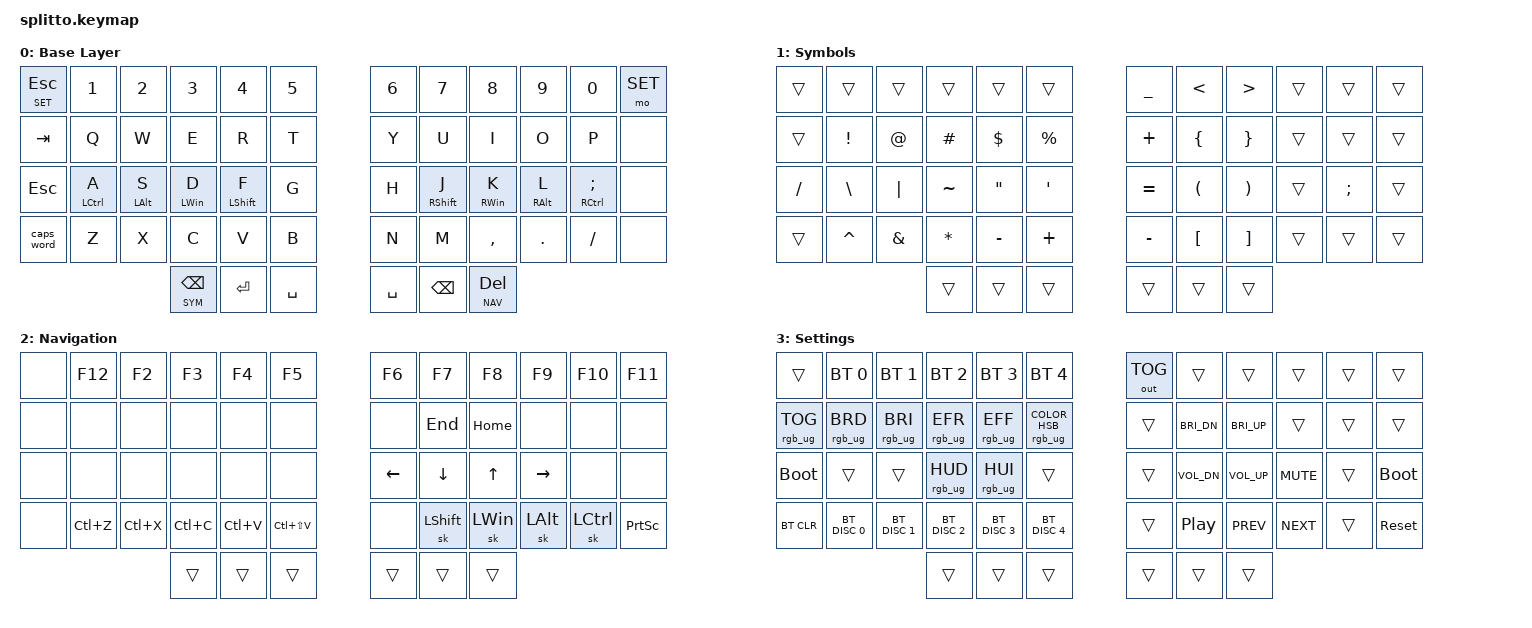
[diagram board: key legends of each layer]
#include <behaviors.dtsi>
#include <dt-bindings/zmk/keys.h>
#include <dt-bindings/zmk/rgb.h>
#include <dt-bindings/zmk/ext_power.h>
#include <dt-bindings/zmk/outputs.h>
#include <dt-bindings/zmk/bt.h>


#define BASE 0
#define SYM  1
#define NAV  2
#define SET  3


/ {
  /* combos { */
  /*   compatible = "zmk,combos"; */
  /*   combo_num_l { */
  /*     timeout-ms = <50>; */
  /*     require-prior-idle-ms = <500>; */
  /*     key-positions = <49 50>; */
  /*     bindings = <&tog NUM>; */
  /*   }; */
  /*   combo_num_r { */
  /*     timeout-ms = <50>; */
  /*     require-prior-idle-ms = <500>; */
  /*     key-positions = <51 52>; */
  /*     bindings = <&tog NUM>; */
  /*   }; */
  /* }; */


  behaviors {
    mtl: home_row_mod_left {
      compatible = "zmk,behavior-hold-tap";
      #binding-cells = <2>;
      flavor = "tap-preferred";
      tapping-term-ms = <150>;
      // quick-tap-ms = <175>;
      bindings = <&kp>, <&kp>;
      hold-trigger-key-positions = <6 7 8 9 10 11  18 19 20 21 22 23  30 31 32 33 34 35  42 43 44 45 46 47  48 49 50 51 52 53>;
      // hold-trigger-on-release;
    };
    mtr: home_row_mod_right {
      compatible = "zmk,behavior-hold-tap";
      #binding-cells = <2>;
      flavor = "tap-preferred";
      tapping-term-ms = <150>;
      // quick-tap-ms = <175>;
      bindings = <&kp>, <&kp>;
      hold-trigger-key-positions = <0 1 2 3 4 5  12 13 14 15 16 17  24 25 26 27 28 29  36 37 38 39 40 41  48 49 50 51 52 53>;
      // hold-trigger-on-release;
    };
  };


  keymap {
    compatible = "zmk,keymap";

    // ┌──────┬─────┬─────┬─────┬─────┬─────┐      ┌─────┬─────┬─────┬─────┬─────┬──────┐
    // │      │ 1   │ 2   │ 3   │ 4   │ 5   │      │ 6   │ 7   │ 8   │ 9   │ 0   │      │
    // │      │     │     │     │     │     │      │     │     │     │     │     │      │
    // ├──────┼─────┼─────┼─────┼─────┼─────┤      ├─────┼─────┼─────┼─────┼─────┼──────┤
    // │ TAB  │ Q   │ W   │ E   │ R   │ T   │      │ Y   │ U   │ I   │ O   │ P   │      │
    // │      │     │     │     │     │     │      │     │     │     │     │     │      │
    // ├──────┼─────┼─────┼─────┼─────┼─────┤      ├─────┼─────┼─────┼─────┼─────┼──────┤
    // │ ESC  │ A   │ S   │ D   │ F   │ G   │      │ H   │ J   │ K   │ L   │ ;   │      │
    // │      │     │     │     │     │     │      │     │     │     │     │     │      │
    // ├──────┼─────┼─────┼─────┼─────┼─────┤      ├─────┼─────┼─────┼─────┼─────┼──────
    // │      │ Z   │ X   │ C   │ V   │ B   │      │ N   │ M   │ ,   │ .   │ /   │      │
    // │      │     │     │     │     │     │      │     │     │     │     │     │      │
    // └──────┴─────┴─────┴─────┴─────┴─────┘      └─────┴─────┴─────┴─────┴─────┴──────┘
    //          ┌───────┐ ┌───────┐ ┌───────┐      ┌───────┐ ┌───────┐ ┌───────┐
    //          │       │ │       │ │ SPACE │      │       │ │       │ │       │
    //          │       │ │       │ │       │      │       │ │       │ │       │
    //          └───────┘ └───────┘ └───────┘      └───────┘ └───────┘ └───────┘
    default_layer {
      display-name = "Base Layer";
      bindings = <
        &lt SET ESC &kp N1       &kp N2      &kp N3      &kp N4       &kp N5      &kp N6      &kp N7       &kp N8      &kp N9      &kp N0          &mo SET
        &kp TAB     &kp Q        &kp W       &kp E       &kp R        &kp T       &kp Y       &kp U        &kp I       &kp O       &kp P           &none
        &kp ESC     &mtl LCTRL A &mtl LALT S &mtl LWIN D &mtl LSHFT F &kp G       &kp H       &mtr RSHFT J &mtr RWIN K &mtr RALT L &mtr RCTRL SEMI &none
        &caps_word  &kp Z        &kp X       &kp C       &kp V        &kp B       &kp N       &kp M        &kp COMMA   &kp DOT     &kp FSLH        &none

        &lt SYM BSPC    &kp RET  &kp SPACE                                        &kp SPACE   &kp BSPC     &lt NAV DEL
      >;
    };



    // Symbols : Hold Left Inner Thumb
    // ┌──────┬─────┬─────┬─────┬─────┬─────┐      ┌─────┬─────┬─────┬─────┬─────┬──────┐
    // │      │     │     │     │     │     │      │ _   │ <   │ >   │     │     │      │
    // │      │     │     │     │     │     │      │     │     │     │     │     │      │
    // ├──────┼─────┼─────┼─────┼─────┼─────┤      ├─────┼─────┼─────┼─────┼─────┼──────┤
    // │      │ !   │ @   │ #   │ $   │ %   │      │ +   │ [   │ ]   │     │     │      │
    // │      │     │     │     │     │     │      │     │     │     │     │     │      │
    // ├──────┼─────┼─────┼─────┼─────┼─────┤      ├─────┼─────┼─────┼─────┼─────┼──────┤
    // │  /?  │ \   │ |   │ ~   │ "   │ '   │      │ =   │ (   │ )   │     │     │      │
    // │      │     │     │     │     │     │      │     │     │     │     │     │      │
    // ├──────┼─────┼─────┼─────┼─────┼─────┤      ├─────┼─────┼─────┼─────┼─────┼──────┤
    // │      │ ^   │ &   │ *   │ v   │ B   │      │ -   │ {   │ }   │     │     │      │
    // │      │     │     │     │     │     │      │     │     │     │     │     │      │
    // └──────┴─────┴─────┴─────┴─────┴─────┘      └─────┴─────┴─────┴─────┴─────┴──────┘
    //          ┌───────┐ ┌───────┐ ┌───────┐      ┌───────┐ ┌───────┐ ┌───────┐
    //          │       │ │       │ │       │      │       │ │       │ │       │
    //          │       │ │       │ │       │      │       │ │       │ │       │
    //          └───────┘ └───────┘ └───────┘      └───────┘ └───────┘ └───────┘
    symbol_layer { display-name = "Symbols";
      bindings = <
        &trans   &trans    &trans   &trans    &trans    &trans        &kp UNDER &kp LT   &kp GT   &trans &trans   &trans
        &trans   &kp EXCL  &kp AT   &kp HASH  &kp DLLR  &kp PRCNT     &kp PLUS  &kp LBRC &kp RBRC &trans &trans   &trans
        &kp FSLH &kp BSLH  &kp PIPE &kp TILDE &kp DQT   &kp SQT       &kp EQUAL &kp LPAR &kp RPAR &trans &kp SEMI &trans
        &trans   &kp CARET &kp AMPS &kp STAR  &kp MINUS &kp PLUS      &kp MINUS &kp LBKT &kp RBKT &trans &trans   &trans

        &trans &trans &trans                                         &trans &trans &trans
      >;
    };



    // Navigation : Hold Right Inner Thumb
    navigation_layer {
      display-name = "Navigation";
      bindings = <
        &none  &kp F12   &kp F2    &kp F3    &kp F4    &kp F5         &kp F6   &kp F7    &kp F8    &kp F9    &kp F10    &kp F11
        &none  &none     &none     &none     &none     &none          &none    &kp END   &kp HOME  &none     &none      &none
        &none  &none     &none     &none     &none     &none          &kp LEFT &kp DOWN  &kp UP    &kp RIGHT &none      &none
        &none  &kp LC(Z) &kp LC(X) &kp LC(C) &kp LC(V) &kp LC(LS(V))  &none    &sk LSHFT &sk LWIN  &sk LALT  &sk LCTRL  &kp PSCRN

        &trans &trans   &trans                                        &trans   &trans    &trans
      >;
    };



    // Settings : Hold Either Escape Position
    settings_layer {
      display-name = "Settings";
      bindings = <
        &trans            &bt BT_SEL 0    &bt BT_SEL 1    &bt BT_SEL 2    &bt BT_SEL 3    &bt BT_SEL 4                       &out OUT_TOG &trans       &trans       &trans     &trans      &trans
        &rgb_ug RGB_TOG   &rgb_ug RGB_BRD &rgb_ug RGB_BRI &rgb_ug RGB_EFR &rgb_ug RGB_EFF &rgb_ug RGB_COLOR_HSB(0,0,100)     &trans       &kp C_BRI_DN &kp C_BRI_UP &trans     &trans      &trans
        &bootloader       &trans          &trans          &rgb_ug RGB_HUD &rgb_ug RGB_HUI &trans                             &trans       &kp C_VOL_DN &kp C_VOL_UP &kp C_MUTE &trans      &bootloader
        &bt BT_CLR        &bt BT_DISC 0   &bt BT_DISC 1   &bt BT_DISC 2   &bt BT_DISC 3   &bt BT_DISC 4                      &trans       &kp C_PP     &kp C_PREV   &kp C_NEXT &trans      &sys_reset

        &trans &trans &trans                                                                                                 &trans &trans &trans
      >;
    };

  };
};
